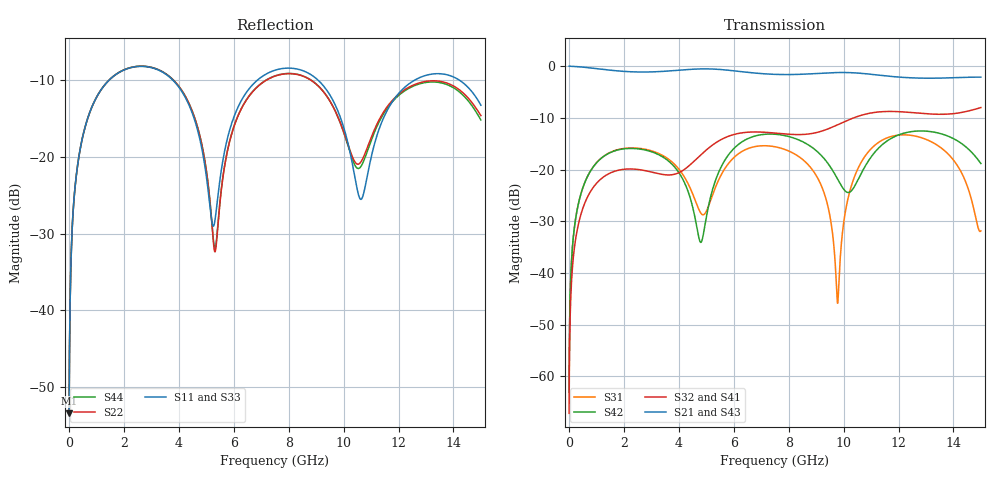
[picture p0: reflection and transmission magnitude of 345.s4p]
! Created with skrf 1.8.0 (http://scikit-rf.org).
# GHz S RI R 50.0
!freq ReS11 ImS11 ReS12 ImS12 ReS13 ImS13
! ReS14 ImS14
! ReS21 ImS21 ReS22 ImS22 ReS23 ImS23
! ReS24 ImS24
! ReS31 ImS31 ReS32 ImS32 ReS33 ImS33
! ReS34 ImS34
! ReS41 ImS41 ReS42 ImS42 ReS43 ImS43
! ReS44 ImS44
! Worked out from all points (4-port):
!   2499 points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, 5 MHz to 15 GHz, reference 50 ohm
!   strongest paths, dB at 5 MHz, 3.476 GHz, 7.19 GHz, 11.1 GHz, 15 GHz:
!     S21: 0.0, -1.0, -1.5, -1.6, -2.1
!     S43: 0.0, -1.0, -1.5, -1.6, -2.1
!     S32: -67.1, -21.0, -12.8, -9.0, -8.0
!     S41: -67.1, -21.1, -12.9, -9.0, -8.0
!     S42: -63.1, -17.8, -13.2, -16.9, -18.8
!     S31: -63.1, -17.5, -15.4, -15.5, -31.9
!   lowest |S11| = -53.4 dB at 5 MHz (marker M1), VSWR 1.00, Z = 50.2 + j0.129 ohm
!   |S11| at or under -10 dB: start of sweep to 1.45 GHz; 3.794 GHz to 6.849 GHz (3.055 GHz wide, 57.4 % of centre); 9.082 GHz to 12.57 GHz (3.487 GHz wide, 32.2 % of centre) (the widest 3 of 4)
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0.005  0.0017 0.00129  0.9983 -0.0033  8.62e-05 0.000695  -8.35e-05 -0.000432
       0.9983 -0.0033  0.0017 0.00129  -8.35e-05 -0.000432  8.61e-05 0.000695
       8.62e-05 0.000695  -8.35e-05 -0.000432  0.0017 0.00129  0.9983 -0.0033
       -8.35e-05 -0.000432  8.61e-05 0.000695  0.9983 -0.0033  0.0017 0.00129
1.725719  0.3111 0.155  0.4487 -0.7809  0.1474 0.0459  -0.0966 0.0111
          0.4487 -0.7809  0.312 0.1543  -0.0967 0.0113  0.1447 0.0506
          0.1474 0.0459  -0.0967 0.0113  0.311 0.1551  0.4487 -0.7809
          -0.0966 0.0111  0.1447 0.0506  0.4487 -0.7809  0.312 0.1542
5.158399  0.0359 -0.0248  -0.9276 -0.1395  -0.0355 0.0359  -0.0226 0.1657
          -0.9276 -0.1395  0.0257 -0.038  -0.0207 0.166  0.0291 0.0462
          -0.0355 0.0359  -0.0207 0.166  0.0351 -0.0251  -0.9276 -0.1396
          -0.0226 0.1657  0.0291 0.0462  -0.9276 -0.1396  0.0267 -0.0379
8.18466  0.3749 -0.0539  -0.00936 0.8293  0.1392 -0.0327  0.2079 -0.0591
         -0.00936 0.8293  0.3486 -0.0122  0.2085 -0.0643  0.1489 -0.136
         0.1392 -0.0327  0.2085 -0.0643  0.3742 -0.0495  -0.00952 0.8294
         0.2079 -0.0591  0.1489 -0.136  -0.00952 0.8294  0.3495 -0.0172
9.779075  0.1274 -0.1574  0.6801 0.5367  -0.00447 -0.00245  0.1644 -0.2149
          0.6801 0.5367  0.1482 -0.1111  0.1577 -0.2199  -0.0525 -0.062
          -0.00447 -0.00245  0.1577 -0.2199  0.133 -0.1549  0.6796 0.5371
          0.1644 -0.2149  -0.0525 -0.062  0.6796 0.5371  0.1439 -0.1165
11.58608  0.1596 0.1228  0.7314 -0.328  0.1536 0.1319  -0.1901 -0.3105
          0.7314 -0.328  0.1837 0.1075  -0.1983 -0.3056  0.1534 0.1106
          0.1536 0.1319  -0.1983 -0.3056  0.1595 0.1153  0.733 -0.3271
          -0.1901 -0.3105  0.1534 0.1106  0.733 -0.3271  0.1787 0.1065
15  0.1668 -0.1403  -0.536 -0.5689  -0.0246 -0.00667  -0.2868 0.274
    -0.536 -0.5689  0.1698 -0.0771  -0.2763 0.2855  -0.0668 -0.0927
    -0.0246 -0.00667  -0.2763 0.2855  0.1585 -0.1325  -0.5401 -0.5684
    -0.2868 0.274  -0.0668 -0.0927  -0.5401 -0.5684  0.1592 -0.0714
